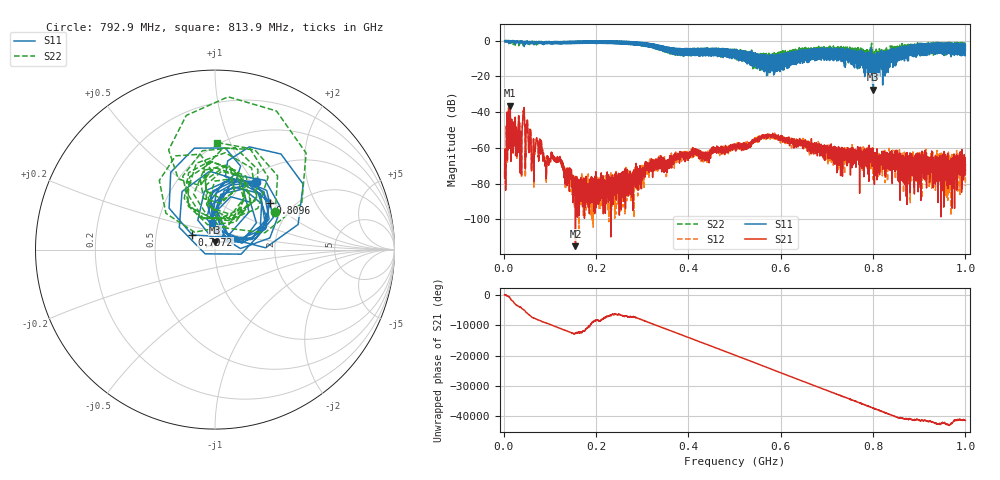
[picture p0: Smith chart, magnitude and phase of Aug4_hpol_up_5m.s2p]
!Keysight Technologies N9923A: A.12.45
!Date: Tuesday, 05 August 2025 19:53:03
!Timezone: (UTC+08:00) Kuala Lumpur, Singapore
!Model: N9923A
!Serial: MY61181427
!GPS Latitude:
!GPS Longitude:
!GPS TimeStamp: 0001-01-01 00:00:00Z
!GPS Seconds Since Last Read: 0
!CHECKSUM:1878240274
!Correction: S11(ON U)S21(ON U)S12(ON U)S22(ON U)
!S2P File: Measurements:S11,S21,S12,S22:
# Hz S DB R 50
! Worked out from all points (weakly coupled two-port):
!   4001 points, 2 MHz to 1 GHz, reference 50 ohm
!   highest |S21| = -36.30 dB at 13.98 MHz (marker M1); lowest = -115.1 dB at 155.4 MHz (marker M2)
!   lowest |S11| = -27.4 dB at 800.6 MHz (marker M3), VSWR 1.09, Z = 50 + j4.28 ohm
!   |S11| at or under -10 dB: 552.3367 MHz to 553.2272 MHz (890.5 kHz wide, 0.161 % of centre); 559.0587 MHz to 559.9807 MHz (922 kHz wide, 0.165 % of centre); 801.546 MHz to 802.753 MHz (1.207 MHz wide, 0.15 % of centre)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
!   |S22| runs from -20.4 to 0.1 dB; largest |S21 - S12| = 0.0011
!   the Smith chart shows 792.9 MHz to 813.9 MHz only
!   S11 on the Smith chart (normalised r, x): 792.9 MHz: 1.09, +1.01; 797.2 MHz: 0.77, +0.13; 809.6 MHz: 1.53, +0.95; 813.9 MHz: 0.92, +0.28
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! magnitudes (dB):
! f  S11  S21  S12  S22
! 2 MHz  -0.1  -76.9  -76.0  -0.1
! 13.98 MHz  -0.7  -36.3  -36.3  -1.3
! 34.19 MHz  -1.5  -45.8  -46.0  -2.7
! 46.41 MHz  -1.3  -54.9  -54.8  -0.7
! 64.38 MHz  -2.1  -57.8  -58.0  -1.3
! 74.36 MHz  -1.7  -58.8  -58.7  -1.5
! 89.57 MHz  -1.6  -67.0  -66.8  -1.6
! 121 MHz  -1.0  -67.7  -66.7  -0.8
! 155.4 MHz  -1.0  -115.1  -84.4  -1.2
! 168.4 MHz  -1.5  -86.3  -82.0  -1.3
! 274 MHz  -1.6  -82.9  -78.4  -1.0
! 334.8 MHz  -4.2  -66.7  -68.0  -5.0
! 501 MHz  -6.9  -59.0  -60.8  -9.0
! 579.1 MHz  -8.0  -54.1  -53.1  -8.3
! 667.4 MHz  -10.4  -57.6  -58.3  -5.8
! 792.9 MHz  -7.2  -65.9  -71.0  -8.1
! 797.2 MHz  -16.4  -63.2  -69.8  -2.3
! 800.6 MHz  -27.4  -64.2  -68.7  -8.1
! 809.6 MHz  -7.9  -70.6  -69.4  -13.7
! 813.9 MHz  -16.5  -68.6  -70.2  -4.5
! 833.8 MHz  -7.1  -63.3  -65.0  -5.3
! 1 GHz  -2.5  -69.5  -81.5  -6.2
